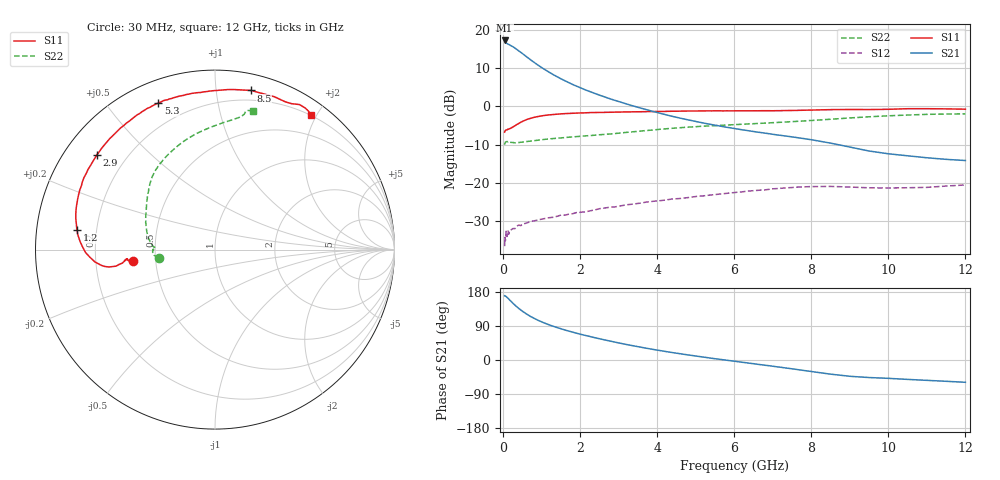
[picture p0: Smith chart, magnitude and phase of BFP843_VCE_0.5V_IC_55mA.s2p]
! Infineon Technologies  Discrete & RF Semiconductors
! BFP843
! VCE =  0.5 V,  IC =  55 mA
! Common Emitter S-Parameters:  Aug 2013
# GHz  S  MA  R  50
!  f  S11  S21  S12  S22
! GHz  MAG  ANG  MAG  ANG  MAG  ANG  MAG  ANG
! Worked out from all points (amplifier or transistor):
!   103 points, 30 MHz to 12 GHz, reference 50 ohm
!   highest |S21| = 17.3 dB at 30 MHz (marker M1)
!   |S21| within 3 dB of that: start of sweep to 434.4 MHz
!   unconditionally stable (mu >= 1): start of sweep to end of sweep
!   at 400 MHz: K = 2.14, MAG = 16.7 dB, |S12| = -31.1 dB
!   at 3.7 GHz: K = 2.35, MAG = 5.6 dB, |S12| = -25.1 dB
!   at 12 GHz: K = 2.07, MAG = -2.7 dB, |S12| = -20.6 dB
!   S11 on the Smith chart (normalised r, x): 30 MHz: 0.37, -0.06; 1.2 GHz: 0.13, +0.07; 2.9 GHz: 0.09, +0.35; 5.3 GHz: 0.10, +0.68; 8.5 GHz: 0.12, +1.24; 12 GHz: 0.19, +1.92
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0.03  0.4625 -172.3  7.327 169.5  0.0148 18.9  0.3166 -171.6
0.04  0.4747 -173.0  7.086 168.7  0.0193 21.5  0.3308 -173.6
0.05  0.4861 -172.6  6.966 169.1  0.0175 3.8  0.3414 -174.7
0.07  0.4915 -173.5  6.748 167.5  0.0232 11.9  0.3452 -176.3
0.09  0.4955 -173.6  6.687 165.5  0.0198 17.3  0.3481 -177.7
0.15  0.5092 -172.7  6.46 159.4  0.0233 18.0  0.3415 179.6
0.25  0.5408 -171.2  6.052 149.3  0.0252 20.8  0.3375 178.4
0.35  0.581 -170.6  5.57 140.1  0.0272 19.7  0.3356 177.8
0.45  0.6214 -171.3  5.123 132.0  0.0275 19.0  0.3402 177.7
0.6  0.6732 -174.2  4.481 121.3  0.0297 19.1  0.3474 176.6
0.8  0.7214 -178.7  3.772 109.8  0.0318 20.4  0.3567 174.6
1  0.7541 176.4  3.217 100.3  0.0335 20.0  0.3669 172.3
1.2  0.7774 171.9  2.786 92.3  0.035 21.2  0.3764 170.1
1.6  0.8066 163.6  2.17 79.1  0.0377 22.5  0.3919 165.5
2.1  0.8251 154.4  1.673 65.5  0.0416 22.9  0.4107 159.6
2.9  0.844 141.3  1.201 47.1  0.0484 22.7  0.4425 149.9
4.1  0.8604 123.7  0.807 24.4  0.0586 18.8  0.5044 136.7
5.3  0.8765 111.1  0.593 6.2  0.0685 13.0  0.5551 126.2
6.1  0.8768 104.3  0.505 -4.6  0.0756 8.6  0.5818 118.7
8.5  0.9091 77.3  0.331 -37.4  0.0897 -12.5  0.6805 92.5
10.5  0.9351 59.8  0.226 -51.2  0.0862 -22.4  0.7724 77.8
12  0.9218 54.7  0.196 -58.8  0.0938 -28.8  0.8001 74.7
